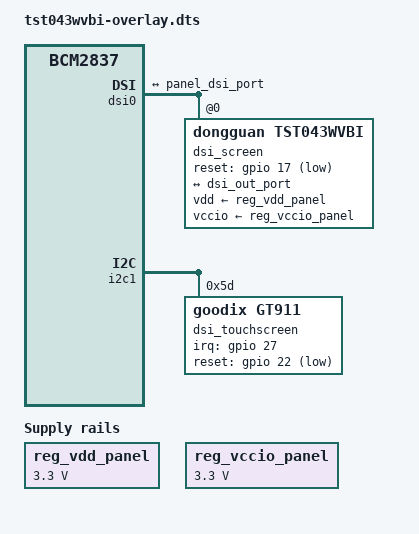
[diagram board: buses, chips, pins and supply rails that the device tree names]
/*
 * Device Tree Overlay for the ilitek-ili9806e DSI screen. This is designed to
 * work with the TST043WVBI-130C 4.3 inch DSI screen.
 */

/dts-v1/;
/plugin/;

/ {
	// use "brcmm,bcm2835" for RPi SoCs, use "brcm,bcm2837" for compute
	// modules, and use "brcm,bcm2711" for RPi 4
	compatible = "brcm,bcm2837";

	fragment@0 {
		target-path = "/";
		__overlay__ {
			reg_vdd_panel: tst043wvbi-regulator-vdd {
				compatible = "regulator-fixed";
				regulator-name = "tst043wvbi-vdd";
				regulator-min-microvolt = <3300000>;
				regulator-max-microvolt = <3300000>;
				regulator-always-on;
			};

			reg_vccio_panel: tst043wvbi-regulator-vccio {
				compatible = "regulator-fixed";
				regulator-name = "tst043wvbi-vccio";
				regulator-min-microvolt = <3300000>;
				regulator-max-microvolt = <3300000>;
				regulator-always-on;
			};
		};
	};

	fragment@1 {
		target = <&dsi0>;
		__overlay__ {
			status = "okay";
			#address-cells = <1>;
			#size-cells = <0>;
			port {
				dsi_out_port:endpoint {
					remote-endpoint = <&panel_dsi_port>;
				};
			};

			// ili9806e driver has two compatiblity strings:
			// 1. densitron,dmt028vghmcmi-1d
			// 2. ortustech,com35h3p70ulc
			dsi_screen:tst043wvbi@0 {
				compatible = "dongguan,tst043wvbi";
				status = "okay";
				reg = <0>;

				// RESET gpio, use 1 to set active low
				reset-gpios = <&gpio 17 1>;

				rotation = <90>;

				vdd-supply = <&reg_vdd_panel>;
				vccio-supply = <&reg_vccio_panel>;

				port {
					panel_dsi_port:endpoint {
						remote-endpoint = <&dsi_out_port>;
					};
				};
			};
		};
	};

	fragment@2 {
		target = <&gpio>;
		__overlay__ {
			dsi_screen_pins:tst043wvbi_pins {
				brcm,pins = <17>;
				brcm,function = <1>; // set gpio pin to output (1)
				brcm,pull = <0>; // unset pulldown of gpio pin (no pulldown or pullup)
			};
		};
	};

	fragment@3 {
		target = <&gpio>;
		__overlay__ {
			dsi_touchscreen_pins: goodix_pins {
				brcm,pins = <27 22>;   // GPIO 27 (pin 13) and GPIO 22
				brcm,function = <0 1>; // set interrupt pin as input and reset as output
				brcm,pull = <0 2>;     // enable internal pull-up resistors
			};
		};
	};

	fragment@4 {
		target = <&i2c1>; // i2c bank 1
		__overlay__ {
			#address-cells = <1>;
			#size-cells = <0>;
			status = "okay";

			dsi_touchscreen: gt911@5d {
				compatible = "goodix,gt911";
				reg = <0x5d>; // i2c address (needs to match above)
				pinctrl-names = "default";
				pinctrl-0 = <&dsi_touchscreen_pins>;
				interrupt-parent = <&gpio>;
				interrupts = <27 2>;
				irq-gpios = <&gpio 27 0>; // set interrupt pin to gpio 27
				reset-gpios = <&gpio 22 1>; // set reset pin to gpio 22
			};
		};
	};

	__overrides__ {
		reset = <&dsi_screen_pins>,"brcm,pins:8",
			<&dsi_screen>,"reset-gpios:4";
		rotation = <&dsi_screen>, "rotation";
	};
};
